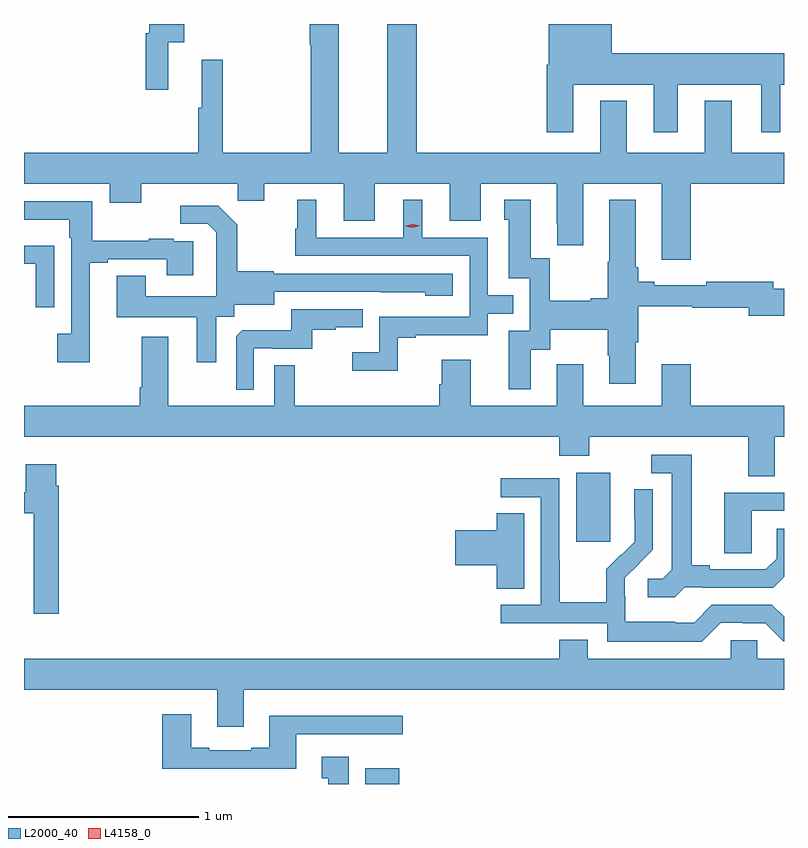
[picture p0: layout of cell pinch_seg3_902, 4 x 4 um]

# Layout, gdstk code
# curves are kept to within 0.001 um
import gdstk
lib = gdstk.Library(unit=1e-6, precision=1e-09)
def R(c, l, rs):  # rectangles x0, y0, x1, y1
    for r in rs: c.add(gdstk.rectangle(r[:2], r[2:], *l))
def P(c, l, *ps):  # polygons
    for p in ps: c.add(gdstk.Polygon(p, *l))
L2000_40 = (2000, 40)
L4158_0 = (4158, 0)

pinch_seg3_902 = lib.new_cell('pinch_seg3_902')
R(pinch_seg3_902, L2000_40, [(820.889,681.773,821.068,681.856), (821.999,683.049,822.178,683.41)])
P(pinch_seg3_902, L2000_40, [(822.602,684.932),(823.093,684.932),(823.093,685.096),(822.817,685.096),(822.817,685.369),(822.677,685.369),(822.677,685.096),(822.265,685.096),(822.265,685.369),(822.125,685.369),(822.125,685.096),(821.159,685.096),(821.159,685.773),(821.006,685.773),(821.006,685.096),(820.75,685.096),(820.75,685.773),(820.598,685.773),(820.598,685.663),(820.603,685.663),(820.603,685.096),(820.138,685.096),(820.138,685.585),(820.028,685.585),(820.028,685.332),(820.009,685.332),(820.009,685.096),(819.093,685.096),(819.093,684.932),(819.545,684.932),(819.545,684.833),(819.709,684.833),(819.709,684.932),(820.219,684.932),(820.219,684.842),(820.357,684.842),(820.357,684.932),(820.775,684.932),(820.775,684.738),(820.939,684.738),(820.939,684.932),(821.333,684.932),(821.333,684.738),(821.497,684.738),(821.497,684.932),(821.897,684.932),(821.897,684.721),(821.9,684.721),(821.9,684.609),(822.037,684.609),(822.037,684.932),(822.449,684.932),(822.449,684.531),(822.602,684.531)],
  [(821.983,685.454),(822.407,685.454),(822.407,685.203),(822.535,685.203),(822.535,685.454),(822.974,685.454),(822.974,685.203),(823.072,685.203),(823.072,685.454),(823.093,685.454),(823.093,685.618),(822.187,685.618),(822.187,685.773),(821.855,685.773),(821.855,685.558),(821.843,685.558),(821.843,685.203),(821.983,685.203)],
  [(819.851,685.676),(819.937,685.676),(819.937,685.773),(819.753,685.773),(819.753,685.724),(819.733,685.724),(819.733,685.428),(819.851,685.428)],
  [(821.061,684.123),(821.155,684.123),(821.155,684.135),(821.535,684.135),(821.535,684.249),(821.669,684.249),(821.669,684.345),(821.535,684.345),(821.535,684.648),(821.188,684.648),(821.188,684.847),(821.09,684.847),(821.09,684.648),(820.63,684.648),(820.63,684.847),(820.532,684.847),(820.532,684.696),(820.521,684.696),(820.521,684.552),(821.439,684.552),(821.439,684.231),(820.962,684.231),(820.962,684.046),(820.821,684.046),(820.821,683.948),(821.061,683.948)],
  [(821.761,684.058),(821.863,684.058),(821.863,684.164),(822.166,684.164),(822.166,684.03),(822.173,684.03),(822.173,683.88),(822.313,683.88),(822.313,684.098),(822.326,684.098),(822.326,684.288),(822.611,684.288),(822.611,684.28),(822.908,684.28),(822.908,684.238),(823.093,684.238),(823.093,684.38),(823.036,684.38),(823.036,684.416),(822.685,684.416),(822.685,684.397),(822.409,684.397),(822.409,684.416),(822.326,684.416),(822.326,684.493),(822.313,684.493),(822.313,684.847),(822.173,684.847),(822.173,684.521),(822.166,684.521),(822.166,684.329),(822.077,684.329),(822.077,684.316),(821.859,684.316),(821.859,684.539),(821.761,684.539),(821.761,684.847),(821.621,684.847),(821.621,684.744),(821.645,684.744),(821.645,684.435),(821.754,684.435),(821.754,684.159),(821.645,684.159),(821.645,683.85),(821.761,683.85)],
  [(819.439,684.516),(819.535,684.516),(819.535,684.534),(819.845,684.534),(819.845,684.45),(819.985,684.45),(819.985,684.63),(819.881,684.63),(819.881,684.643),(819.749,684.643),(819.749,684.632),(819.451,684.632),(819.451,684.84),(819.093,684.84),(819.093,684.743),(819.33,684.743),(819.33,684.647),(819.342,684.647),(819.342,684.142),(819.267,684.142),(819.267,683.994),(819.439,683.994)],
  [(820.105,684.232),(820.2,684.232),(820.2,684.296),(820.411,684.296),(820.411,684.363),(821.205,684.362),(821.205,684.344),(821.35,684.344),(821.35,684.459),(820.407,684.459),(820.407,684.472),(820.215,684.472),(820.215,684.717),(820.115,684.817),(819.915,684.817),(819.915,684.723),(820.059,684.723),(820.106,684.676),(820.106,684.581),(820.104,684.581),(820.104,684.34),(819.733,684.34),(819.733,684.449),(819.581,684.449),(819.581,684.23),(820.001,684.23),(820.001,683.994),(820.105,683.994)],
  [(819.252,684.607),(819.093,684.607),(819.093,684.51),(819.156,684.51),(819.156,684.282),(819.252,684.282)],
  [(820.302,684.066),(820.402,684.066),(820.402,684.063),(820.61,684.063),(820.61,684.165),(820.733,684.165),(820.733,684.176),(820.877,684.176),(820.877,684.273),(820.5,684.273),(820.5,684.161),(820.241,684.161),(820.209,684.129),(820.209,683.849),(820.302,683.849)],
  [(823.045,683.6),(823.093,683.6),(823.093,683.764),(822.602,683.764),(822.602,683.983),(822.449,683.983),(822.449,683.764),(822.037,683.764),(822.037,683.983),(821.897,683.983),(821.897,683.764),(821.443,683.764),(821.443,684.007),(821.291,684.007),(821.291,683.877),(821.279,683.877),(821.279,683.764),(820.519,683.764),(820.519,683.978),(820.41,683.978),(820.41,683.764),(819.853,683.764),(819.853,684.127),(819.713,684.127),(819.713,683.86),(819.701,683.86),(819.701,683.764),(819.093,683.764),(819.093,683.6),(821.909,683.6),(821.909,683.501),(822.069,683.501),(822.069,683.6),(822.905,683.6),(822.905,683.392),(823.045,683.392)],
  [(822.57,682.809),(822.664,682.809),(822.664,682.806),(823.036,682.806),(823.093,682.863),(823.093,683.116),(823.055,683.116),(823.055,682.959),(822.998,682.902),(822.703,682.902),(822.703,682.925),(822.607,682.925),(822.607,683.505),(822.393,683.505),(822.393,683.409),(822.503,683.409),(822.503,682.901),(822.456,682.854),(822.375,682.854),(822.375,682.757),(822.518,682.757)],
  [(819.275,683.342),(819.262,683.342),(819.262,683.455),(819.101,683.455),(819.101,683.308),(819.093,683.308),(819.093,683.199),(819.143,683.199),(819.143,682.668),(819.275,682.668)],
  [(822.759,682.623),(822.875,682.623),(822.875,682.62),(822.993,682.62),(823.089,682.524),(823.093,682.524),(823.093,682.652),(823.029,682.716),(822.714,682.716),(822.621,682.623),(822.521,682.623),(822.521,682.627),(822.258,682.627),(822.258,682.761),(822.256,682.761),(822.256,682.858),(822.402,683.006),(822.402,683.324),(822.306,683.324),(822.306,683.17),(822.308,683.17),(822.308,683.048),(822.237,682.977),(822.234,682.98),(822.157,682.903),(822.157,682.729),(821.913,682.729),(821.913,682.952),(821.91,682.952),(821.91,683.382),(821.601,683.382),(821.601,683.283),(821.814,683.283),(821.814,682.716),(821.601,682.716),(821.601,682.62),(822.162,682.62),(822.162,682.523),(822.659,682.523)],
  [(822.924,683.211),(823.093,683.211),(823.093,683.307),(822.779,683.307),(822.779,682.987),(822.924,682.987)],
  [(821.725,683.198),(821.582,683.198),(821.582,683.108),(821.364,683.108),(821.364,682.925),(821.582,682.925),(821.582,682.801),(821.725,682.801)],
  [(820.249,682.268),(823.093,682.268),(823.093,682.432),(822.951,682.432),(822.951,682.53),(822.813,682.53),(822.813,682.432),(822.061,682.432),(822.061,682.531),(821.909,682.531),(821.909,682.432),(819.093,682.432),(819.093,682.268),(820.109,682.268),(820.109,682.074),(820.249,682.074)],
  [(820.525,682.035),(821.086,682.035),(821.086,682.132),(820.385,682.132),(820.385,681.964),(820.289,681.964),(820.289,681.951),(820.069,681.951),(820.069,681.964),(819.973,681.964),(819.973,682.141),(819.821,682.141),(819.821,681.854),(820.525,681.854)],
  [(820.801,681.916),(820.661,681.916),(820.661,681.803),(820.694,681.803),(820.694,681.773),(820.801,681.773)])
P(pinch_seg3_902, L4158_0, [(821.139,684.7),(821.103,684.709),(821.103,684.709),(821.103,684.71),(821.139,684.72),(821.175,684.712),(821.175,684.712),(821.175,684.711)])

lib.write_gds('pinch_seg3_902.gds')
